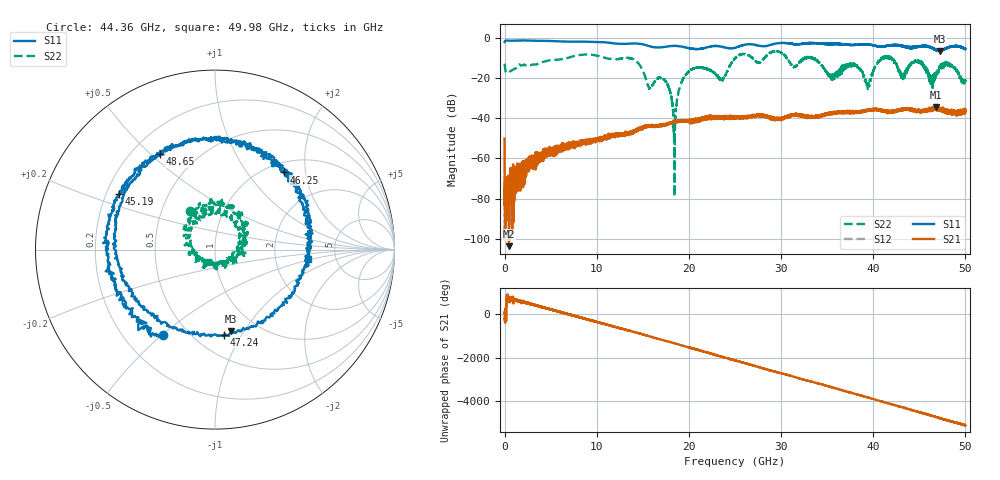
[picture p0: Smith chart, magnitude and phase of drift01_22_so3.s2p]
!Created with skrf (http://scikit-rf.org).
# Hz S RI R 50.0
!freq ReS11 ImS11 ReS21 ImS21 ReS12 ImS12 ReS22 ImS22
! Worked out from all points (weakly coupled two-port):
!   10001 points, 300 kHz to 50 GHz, reference 50 ohm
!   highest |S21| = -34.45 dB at 46.78 GHz (marker M1); lowest = -103.6 dB at 480.3 MHz (marker M2)
!   lowest |S11| = -6.7 dB at 47.2 GHz (marker M3), VSWR 2.72, Z = 38.1 - j43.9 ohm
!   |S11| at or under -10 dB: nowhere
!   |S22| runs from -79.0 to -6.6 dB; largest |S21 - S12| = 0.0038
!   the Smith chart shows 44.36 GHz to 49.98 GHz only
!   S11 on the Smith chart (normalised r, x): 44.36 GHz: 0.36, -0.50; 45.19 GHz: 0.25, +0.25; 46.25 GHz: 1.18, +1.52; 47.24 GHz: 0.68, -0.84; 48.65 GHz: 0.31, +0.53; 49.98 GHz: 3.12, -0.44
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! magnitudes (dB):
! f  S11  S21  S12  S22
! 300 kHz  -2.1  -50.1  -62.6  -12.9
! 480.3 MHz  -1.4  -103.6  -70.7  -17.1
! 8.335 GHz  -1.9  -52.1  -52.6  -8.5
! 16.67 GHz  -4.8  -43.6  -43.7  -19.9
! 17.74 GHz  -4.3  -42.7  -42.6  -23.7
! 18.43 GHz  -4.1  -41.5  -42.0  -73.7
! 19.86 GHz  -5.1  -41.0  -41.4  -17.2
! 23.6 GHz  -4.5  -39.6  -40.0  -20.6
! 25 GHz  -5.0  -39.8  -39.8  -10.3
! 33.34 GHz  -2.6  -39.4  -39.2  -9.9
! 39.44 GHz  -3.4  -36.2  -36.1  -24.7
! 41.67 GHz  -3.9  -37.1  -36.6  -10.1
! 43.18 GHz  -4.2  -35.8  -35.4  -19.0
! 44.36 GHz  -5.0  -36.6  -36.1  -11.9
! 45.19 GHz  -4.2  -36.4  -36.3  -12.5
! 46.25 GHz  -4.8  -35.6  -35.9  -20.1
! 46.78 GHz  -5.9  -34.4  -35.6  -19.8
! 47.2 GHz  -6.7  -35.4  -35.3  -14.5
! 47.24 GHz  -6.4  -35.4  -35.9  -15.3
! 48.65 GHz  -4.2  -37.4  -37.0  -14.4
! 49.98 GHz  -5.6  -36.2  -36.7  -21.1
! 50 GHz  -5.5  -37.4  -36.8  -21.7
